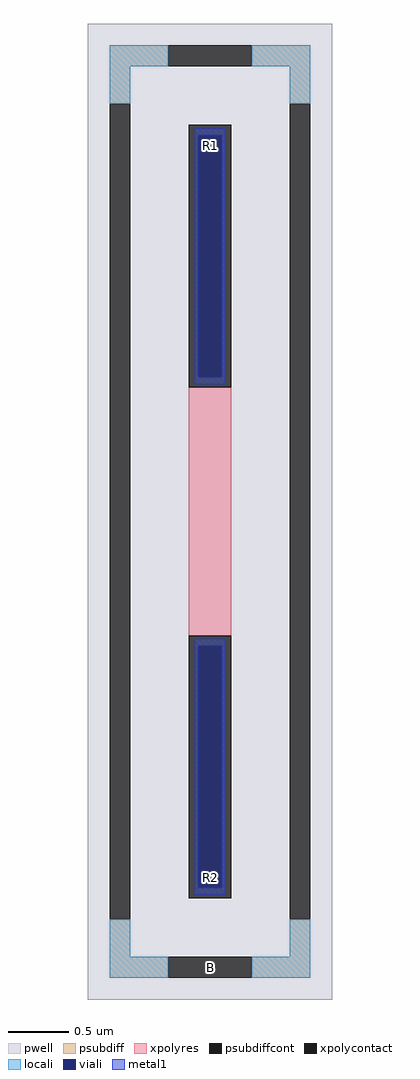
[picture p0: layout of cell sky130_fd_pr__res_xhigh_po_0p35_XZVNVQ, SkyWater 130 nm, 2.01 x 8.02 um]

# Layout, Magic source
magic
tech sky130A
magscale 1 2
<< pwell >>
rect -201 -802 201 802
<< psubdiff >>
rect -165 732 -69 766
rect 69 732 165 766
rect -165 670 -131 732
rect 131 670 165 732
rect -165 -732 -131 -670
rect 131 -732 165 -670
rect -165 -766 -69 -732
rect 69 -766 165 -732
<< psubdiffcont >>
rect -69 732 69 766
rect -165 -670 -131 670
rect 131 -670 165 670
rect -69 -766 69 -732
<< xpolycontact >>
rect -35 204 35 636
rect -35 -636 35 -204
<< xpolyres >>
rect -35 -204 35 204
<< locali >>
rect -165 732 -69 766
rect 69 732 165 766
rect -165 670 -131 732
rect 131 670 165 732
rect -165 -732 -131 -670
rect 131 -732 165 -670
rect -165 -766 -69 -732
rect 69 -766 165 -732
<< viali >>
rect -19 221 19 618
rect -19 -618 19 -221
<< metal1 >>
rect -25 618 25 630
rect -25 221 -19 618
rect 19 221 25 618
rect -25 209 25 221
rect -25 -221 25 -209
rect -25 -618 -19 -221
rect 19 -618 25 -221
rect -25 -630 25 -618
<< labels >>
rlabel psubdiffcont 0 -749 0 -749 0 B
port 1 nsew
rlabel xpolycontact 0 601 0 601 0 R1
port 2 nsew
rlabel xpolycontact 0 -601 0 -601 0 R2
port 3 nsew
<< properties >>
string FIXED_BBOX -148 -749 148 749
string gencell sky130_fd_pr__res_xhigh_po_0p35
string library sky130
string parameters w 0.350 l 2.2 m 1 nx 1 wmin 0.350 lmin 0.50 class resistor rho 2000 val 13.646k dummy 0 dw 0.0 term 188.2 sterm 0.0 caplen 0 wmax 0.350 guard 1 glc 1 grc 1 gtc 1 gbc 1 compatible {sky130_fd_pr__res_xhigh_po_0p35  sky130_fd_pr__res_xhigh_po_0p69 sky130_fd_pr__res_xhigh_po_1p41  sky130_fd_pr__res_xhigh_po_2p85 sky130_fd_pr__res_xhigh_po_5p73} snake 0 full_metal 1 n_guard 0 hv_guard 0 vias 1 viagb 0 viagt 0 viagl 0 viagr 0 doports 1 mult 1
<< end >>
